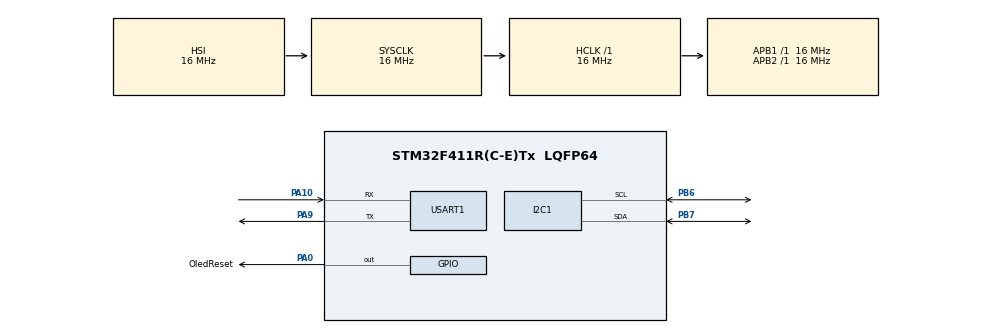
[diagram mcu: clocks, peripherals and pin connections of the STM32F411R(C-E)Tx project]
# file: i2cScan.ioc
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I2C1.I2C_Mode=I2C_Fast
Mcu.Family=STM32F4
Mcu.Name=STM32F411R(C-E)Tx
Mcu.Package=LQFP64
NVIC.PriorityGroup=NVIC_PRIORITYGROUP_4
PA0-WKUP.GPIO_Label=OledReset
PA0-WKUP.Signal=GPIO_Output
PA10.Mode=Asynchronous
PA10.Signal=USART1_RX
PA9.Mode=Asynchronous
PA9.Signal=USART1_TX
PB6.Mode=I2C
PB6.Signal=I2C1_SCL
PB7.Mode=I2C
PB7.Signal=I2C1_SDA
ProjectManager.HeapSize=0x200
ProjectManager.StackSize=0x400
ProjectManager.TargetToolchain=STM32CubeIDE
RCC.AHBFreq_Value=16000000
RCC.APB1Freq_Value=16000000
RCC.APB2Freq_Value=16000000
RCC.CortexFreq_Value=16000000
RCC.HSE_VALUE=25000000
RCC.HSI_VALUE=16000000
RCC.LSE_VALUE=32768
RCC.SYSCLKFreq_VALUE=16000000
RCC.VCOOutputFreq_Value=192000000
USART1.VirtualMode=VM_ASYNC
board=custom

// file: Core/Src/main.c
/* USER CODE BEGIN Header */
/**
  ******************************************************************************
  * @file           : main.c
  * @brief          : Main program body
  ******************************************************************************
  * @attention
  *
  * Copyright (c) 2023 STMicroelectronics.
  * All rights reserved.
  *
  * This software is licensed under terms that can be found in the LICENSE file
  * in the root directory of this software component.
  * If no LICENSE file comes with this software, it is provided AS-IS.
  *
  ******************************************************************************
  */
/* USER CODE END Header */
#include "main.h"

/* USER CODE BEGIN Includes */
#include "uart.h"
/* USER CODE END Includes */

I2C_HandleTypeDef hi2c1;

UART_HandleTypeDef huart1;

void SystemClock_Config(void);
static void MX_GPIO_Init(void);
static void MX_I2C1_Init(void);
static void MX_USART1_UART_Init(void);

/* USER CODE BEGIN 0 */
#define memTemperateBase 0
#define memTemperateSize 4
#define memCO2Base (memTemperateBase+memTemperateSize)
#define memCO2Size 4
#define memeDeviceNameBase (memCO2Base+memCO2Size)
#define memeDeviceNameSize 20

void writeEeprom(uint16_t address, uint8_t data)
{
	uint8_t txBuffer[3];
	txBuffer[0] = address >> 8;
	txBuffer[1] = address & 0x00ff;
	txBuffer[2] = data;
	HAL_I2C_Master_Transmit(&hi2c1, 0xA0, txBuffer, 3, 1);
	HAL_Delay(5);
}
uint8_t readEeprom (uint16_t address)
{
	uint8_t txBuffer[2];
	uint8_t rxBuffer;
	txBuffer[0] = address >> 8;
	txBuffer[1] = address & 0x00ff;
	HAL_I2C_Master_Transmit(&hi2c1, 0xA0, txBuffer, 2, 1);
	HAL_I2C_Master_Receive(&hi2c1, 0xA0, &rxBuffer, 1, 1);
	return rxBuffer;
}
void writeEeprom2(uint16_t address, uint8_t data) // 위 작업�?� 한번�? 해주는 �?체 함수
{
	HAL_I2C_Mem_Write(&hi2c1, 0xA0, address, 2, &data, 1, 1);
	HAL_Delay(5);
}
uint8_t readEeprom2(uint16_t address)
{
	uint8_t rxBuffer;
	HAL_I2C_Mem_Read(&hi2c1, 0xA0, address, 2, &rxBuffer, 1, 1);
	return rxBuffer;
}

typedef struct {
	uint8_t sec;
	uint8_t min;
	uint8_t hour;
	uint8_t day;
	uint8_t date;
	uint8_t month;
	uint8_t year;
}DateTime_t;

void writeRtc(DateTime_t dateTime)
{
	HAL_I2C_Mem_Write(&hi2c1, 0xD0, 0, 1, &dateTime, 7, 1);
}

DateTime_t readRtc()
{
	DateTime_t result;
	HAL_I2C_Mem_Read(&hi2c1, 0xD0, 0, 1, &result, 7, 1);
	return result;

}

void writeEeprom4Byte(uint16_t address, uint32_t data)
{
	uint8_t buffer[4];
	memcpy(buffer,&data,4);
	/*buffer[0] = data >>24;
	buffer[1] = data >> 16;
	buffer[2] = data >> 8;
	buffer[3] = data;*/
	writeEeprom(address, buffer[0]);
	writeEeprom(address+1, buffer[1]);
	writeEeprom(address+2, buffer[2]);
	writeEeprom(address+3, buffer[3]);
}

uint32_t readEeprom4Byte(uint16_t address)
{
	uint8_t rxBuffer[4];
	uint32_t result;
	rxBuffer[0]= readEeprom(address);
	rxBuffer[1]= readEeprom(address+1);
	rxBuffer[2]= readEeprom(address+2);
	rxBuffer[3]= readEeprom(address+3);
	memcpy(&result,rxBuffer,4);
	return result;
}
/* USER CODE END 0 */

int main(void)
{

  /* MCU Configuration--------------------------------------------------------*/

  /* Reset of all peripherals, Initializes the Flash interface and the Systick. */
  HAL_Init();

  /* Configure the system clock */
  SystemClock_Config();

  /* Initialize all configured peripherals */
  MX_GPIO_Init();
  MX_I2C1_Init();
  MX_USART1_UART_Init();
  /* USER CODE BEGIN 2 */
  printf("I2C scanner\n");

  HAL_GPIO_WritePin(OledReset_GPIO_Port, OledReset_Pin, 0);
  HAL_Delay(1);
  HAL_GPIO_WritePin(OledReset_GPIO_Port, OledReset_Pin, 1);

  for(int address=0;address<256;address++)
  	{
  		int result =HAL_I2C_IsDeviceReady(&hi2c1, address, 0, 1);
  		if(result == HAL_OK)
  			{
  				printf("%02x = %d\n",address, result);
  			}

  	}

  /*writeEeprom4Byte(memTemperateBase, 0x12345678);
  writeEeprom4Byte(memCO2Base, 0x87654321);*/

  /* USER CODE END 2 */

  /* Infinite loop */
  while (1)
  {

  }
}

void SystemClock_Config(void)
{
  RCC_OscInitTypeDef RCC_OscInitStruct = {0};
  RCC_ClkInitTypeDef RCC_ClkInitStruct = {0};

  /** Configure the main internal regulator output voltage
  */
  __HAL_RCC_PWR_CLK_ENABLE();
  __HAL_PWR_VOLTAGESCALING_CONFIG(PWR_REGULATOR_VOLTAGE_SCALE1);

  /** Initializes the RCC Oscillators according to the specified parameters
  * in the RCC_OscInitTypeDef structure.
  */
  RCC_OscInitStruct.OscillatorType = RCC_OSCILLATORTYPE_HSI;
  RCC_OscInitStruct.HSIState = RCC_HSI_ON;
  RCC_OscInitStruct.HSICalibrationValue = RCC_HSICALIBRATION_DEFAULT;
  RCC_OscInitStruct.PLL.PLLState = RCC_PLL_NONE;
  if (HAL_RCC_OscConfig(&RCC_OscInitStruct) != HAL_OK)
  {
    Error_Handler();
  }

  /** Initializes the CPU, AHB and APB buses clocks
  */
  RCC_ClkInitStruct.ClockType = RCC_CLOCKTYPE_HCLK|RCC_CLOCKTYPE_SYSCLK
                              |RCC_CLOCKTYPE_PCLK1|RCC_CLOCKTYPE_PCLK2;
  RCC_ClkInitStruct.SYSCLKSource = RCC_SYSCLKSOURCE_HSI;
  RCC_ClkInitStruct.AHBCLKDivider = RCC_SYSCLK_DIV1;
  RCC_ClkInitStruct.APB1CLKDivider = RCC_HCLK_DIV1;
  RCC_ClkInitStruct.APB2CLKDivider = RCC_HCLK_DIV1;

  if (HAL_RCC_ClockConfig(&RCC_ClkInitStruct, FLASH_LATENCY_0) != HAL_OK)
  {
    Error_Handler();
  }
}

static void MX_I2C1_Init(void)
{

  hi2c1.Instance = I2C1;
  hi2c1.Init.ClockSpeed = 400000;
  hi2c1.Init.DutyCycle = I2C_DUTYCYCLE_2;
  hi2c1.Init.OwnAddress1 = 0;
  hi2c1.Init.AddressingMode = I2C_ADDRESSINGMODE_7BIT;
  hi2c1.Init.DualAddressMode = I2C_DUALADDRESS_DISABLE;
  hi2c1.Init.OwnAddress2 = 0;
  hi2c1.Init.GeneralCallMode = I2C_GENERALCALL_DISABLE;
  hi2c1.Init.NoStretchMode = I2C_NOSTRETCH_DISABLE;
  if (HAL_I2C_Init(&hi2c1) != HAL_OK)
  {
    Error_Handler();
  }

}

static void MX_USART1_UART_Init(void)
{

  huart1.Instance = USART1;
  huart1.Init.BaudRate = 115200;
  huart1.Init.WordLength = UART_WORDLENGTH_8B;
  huart1.Init.StopBits = UART_STOPBITS_1;
  huart1.Init.Parity = UART_PARITY_NONE;
  huart1.Init.Mode = UART_MODE_TX_RX;
  huart1.Init.HwFlowCtl = UART_HWCONTROL_NONE;
  huart1.Init.OverSampling = UART_OVERSAMPLING_16;
  if (HAL_UART_Init(&huart1) != HAL_OK)
  {
    Error_Handler();
  }

}

static void MX_GPIO_Init(void)
{
  GPIO_InitTypeDef GPIO_InitStruct = {0};

  /* GPIO Ports Clock Enable */
  __HAL_RCC_GPIOA_CLK_ENABLE();
  __HAL_RCC_GPIOB_CLK_ENABLE();

  /*Configure GPIO pin Output Level */
  HAL_GPIO_WritePin(OledReset_GPIO_Port, OledReset_Pin, GPIO_PIN_RESET);

  /*Configure GPIO pin : OledReset_Pin */
  GPIO_InitStruct.Pin = OledReset_Pin;
  GPIO_InitStruct.Mode = GPIO_MODE_OUTPUT_PP;
  GPIO_InitStruct.Pull = GPIO_NOPULL;
  GPIO_InitStruct.Speed = GPIO_SPEED_FREQ_LOW;
  HAL_GPIO_Init(OledReset_GPIO_Port, &GPIO_InitStruct);

}

void Error_Handler(void)
{
  __disable_irq();
  while (1)
  {
  }
}
